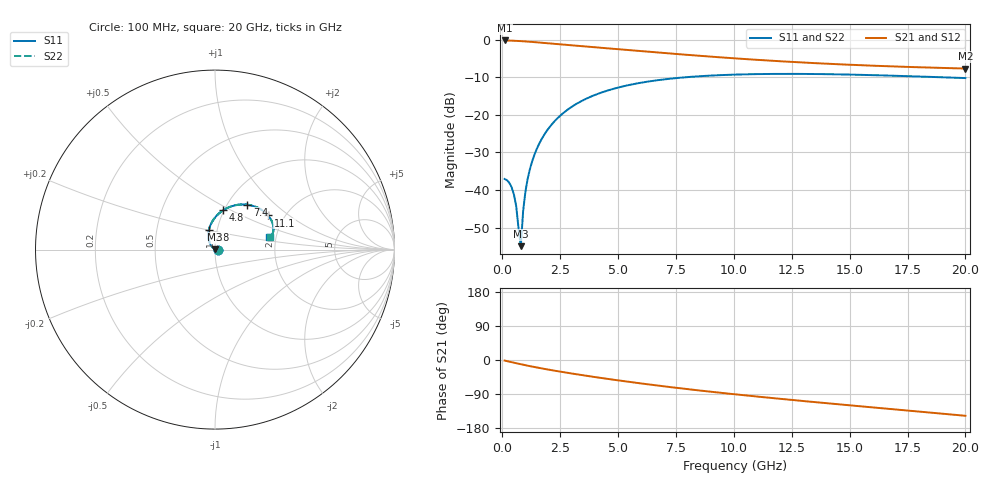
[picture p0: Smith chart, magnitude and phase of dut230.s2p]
! Touchstone file exported from HFSS 2024.1.0
!  File:  C:/UserFiles/LocalFiles/RDL_TSV_Batchsim/temp_RDL_TSV_230_1779451661.aedt
!  Generated:  08:20:56 PM May 22, 2026
!  Design:  RDL_TSV
!  Project:  temp_RDL_TSV_230_1779451661
!  Setup:  Setup1
!  Solution:  Sweep
! Variables:
!  dtsv = 13.35um
!  hbump = 3um
!  htsv = 57.47um
!  ldown = 446.83um
!  lrdl = 176.74um
!  p = 40
!  p1 = 53.41um
!  rhole = 10um
!  subl = 2047.45um
!  t = 450um
!  tdown = 2.69um
!  trdl = 4.88um
!  viad = 10um
!  wdown = 14.65um
!  wrdl = 27.51um
!  xbump = 18um
# GHz S MA R 50.000000
! Terminal data exported
! Port[1] = TM1_1_T1
! Port[2] = TM1_4_T1
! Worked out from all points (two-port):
!   200 points, 100 MHz to 20 GHz, reference 50 ohm
!   highest |S21| = -0.13 dB at 100 MHz (marker M1); lowest = -7.6 dB at 20 GHz (marker M2)
!   |S21| within 3 dB of the highest: start of sweep to 6.302 GHz
!   lowest |S11| = -55.0 dB at 800 MHz (marker M3), VSWR 1.00, Z = 50 + j0.177 ohm
!   |S11| at or under -10 dB: start of sweep to 7.798 GHz; 19.24 GHz to end of sweep
!   |S22| runs from -54.9 to -9.0 dB; largest |S21 - S12| = 4.2e-14
!   S11 on the Smith chart (normalised r, x): 100 MHz: 1.03, -0.00; 2.8 GHz: 0.91, +0.21; 4.8 GHz: 0.99, +0.46; 7.4 GHz: 1.23, +0.68; 11.1 GHz: 1.65, +0.71; 20 GHz: 1.84, +0.28
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0.1  0.01403 -0.9  0.9854 -1.5  0.9854 -1.5  0.01403 -0.9
! Gamma 0 0 0 0
! Port Impedance 50 0 50 0
0.3  0.01251 -3.8  0.9821 -4.3  0.9821 -4.3  0.0125 -3.8
0.5  0.008777 -6.4  0.9767 -7.1  0.9767 -7.1  0.008765 -6.4
0.6  0.00612 -5.1  0.9734 -8.5  0.9734 -8.5  0.006104 -5.0
0.7  0.003108 6.7  0.9696 -9.8  0.9696 -9.8  0.003089 6.9
0.8  0.001783 96.8  0.9655 -11.2  0.9655 -11.2  0.0018 97.6
0.9  0.005248 135.0  0.9611 -12.5  0.9611 -12.5  0.005284 135.1
1  0.009591 139.7  0.9564 -13.8  0.9564 -13.8  0.009636 139.8
1.1  0.01432 139.9  0.9515 -15.0  0.9515 -15.0  0.01438 139.9
1.3  0.02467 136.9  0.9411 -17.5  0.9411 -17.5  0.02474 136.9
1.6  0.04178 130.6  0.9246 -21.0  0.9246 -21.0  0.04188 130.7
1.9  0.06007 124.1  0.9078 -24.4  0.9078 -24.4  0.06021 124.2
2.8  0.1165 106.7  0.859 -33.7  0.859 -33.7  0.1167 106.7
3.5  0.1578 95.3  0.8235 -40.4  0.8235 -40.4  0.1582 95.4
4.8  0.2234 78.3  0.7623 -52.0  0.7623 -52.0  0.2239 78.4
6.8  0.2934 58.9  0.6776 -68.1  0.6776 -68.1  0.2941 59.0
7.4  0.308 54.2  0.6547 -72.6  0.6547 -72.6  0.3087 54.3
10.1  0.3459 37.5  0.5671 -90.9  0.5671 -90.9  0.3468 37.6
11.1  0.3512 32.8  0.5412 -97.1  0.5412 -97.1  0.3522 32.8
13.4  0.352 24.1  0.493 -110.6  0.493 -110.6  0.353 24.1
16.7  0.3353 16.1  0.4459 -129.0  0.4459 -129.0  0.3364 16.2
20  0.3106 13.0  0.4163 -147.2  0.4163 -147.2  0.3118 13.1
